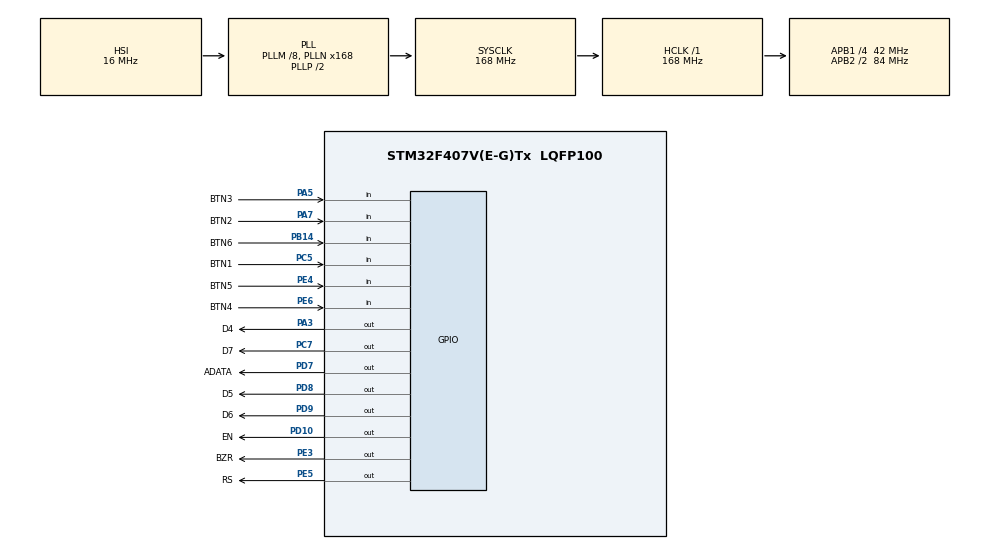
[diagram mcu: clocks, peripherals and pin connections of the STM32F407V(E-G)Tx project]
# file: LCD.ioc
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Mcu.Family=STM32F4
Mcu.Name=STM32F407V(E-G)Tx
Mcu.Package=LQFP100
NVIC.PriorityGroup=NVIC_PRIORITYGROUP_4
PA13.Mode=Serial_Wire
PA13.Signal=SYS_JTMS-SWDIO
PA14.Mode=Serial_Wire
PA14.Signal=SYS_JTCK-SWCLK
PA3.GPIO_Label=D4
PA3.Signal=GPIO_Output
PA5.GPIO_Label=BTN3
PA5.GPIO_PuPd=GPIO_PULLUP
PA5.Signal=GPIO_Input
PA7.GPIO_Label=BTN2
PA7.GPIO_PuPd=GPIO_PULLUP
PA7.Signal=GPIO_Input
PB14.GPIO_Label=BTN6
PB14.GPIO_PuPd=GPIO_PULLUP
PB14.Signal=GPIO_Input
PC5.GPIO_Label=BTN1
PC5.GPIO_PuPd=GPIO_PULLUP
PC5.Signal=GPIO_Input
PC7.GPIO_Label=D7
PC7.Signal=GPIO_Output
PD10.GPIO_Label=EN
PD10.Signal=GPIO_Output
PD7.GPIO_Label=ADATA
PD7.Signal=GPIO_Output
PD8.GPIO_Label=D5
PD8.Signal=GPIO_Output
PD9.GPIO_Label=D6
PD9.Signal=GPIO_Output
PE3.GPIO_Label=BZR
PE3.Signal=GPIO_Output
PE4.GPIO_Label=BTN5
PE4.GPIO_PuPd=GPIO_PULLUP
PE4.Signal=GPIO_Input
PE5.GPIO_Label=RS
PE5.Signal=GPIO_Output
PE6.GPIO_Label=BTN4
PE6.GPIO_PuPd=GPIO_PULLUP
PE6.Signal=GPIO_Input
PH0-OSC_IN.Mode=HSE-External-Clock-Source
PH0-OSC_IN.Signal=RCC_OSC_IN
PH1-OSC_OUT.Mode=HSE-External-Clock-Source
PH1-OSC_OUT.Signal=RCC_OSC_OUT
ProjectManager.HeapSize=0x200
ProjectManager.StackSize=0x400
ProjectManager.TargetToolchain=STM32CubeIDE
RCC.48MHZClocksFreq_Value=84000000
RCC.AHBFreq_Value=168000000
RCC.APB1CLKDivider=RCC_HCLK_DIV4
RCC.APB1Freq_Value=42000000
RCC.APB1TimFreq_Value=84000000
RCC.APB2CLKDivider=RCC_HCLK_DIV2
RCC.APB2Freq_Value=84000000
RCC.APB2TimFreq_Value=168000000
RCC.CortexFreq_Value=168000000
RCC.HCLKFreq_Value=168000000
RCC.HSE_VALUE=25000000
RCC.HSI_VALUE=16000000
RCC.LSE_VALUE=32768
RCC.PLLM=8
RCC.PLLN=168
RCC.SYSCLKFreq_VALUE=168000000
RCC.SYSCLKSource=RCC_SYSCLKSOURCE_PLLCLK
RCC.VCOOutputFreq_Value=336000000
board=custom

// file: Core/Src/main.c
/* USER CODE BEGIN Header */
/**
 ******************************************************************************
 * @file           : main.c
 * @brief          : Main program body
 ******************************************************************************
 * @attention
 *
 * Copyright (c) 2022 STMicroelectronics.
 * All rights reserved.
 *
 * This software is licensed under terms that can be found in the LICENSE file
 * in the root directory of this software component.
 * If no LICENSE file comes with this software, it is provided AS-IS.
 *
 ******************************************************************************
 */
/* USER CODE END Header */
#include "main.h"

/* USER CODE BEGIN Includes */
#include "LCD.h"
#include "stdbool.h"
/* USER CODE END Includes */

/* USER CODE BEGIN PV */
int adata = 0;
int i;
bool z = false;
/* USER CODE END PV */

void SystemClock_Config(void);
static void MX_GPIO_Init(void);

/* USER CODE BEGIN PFP */
void buttonPress(void);
/* USER CODE END PFP */

int main(void) {

	/* MCU Configuration--------------------------------------------------------*/

	/* Reset of all peripherals, Initializes the Flash interface and the Systick. */
	HAL_Init();

	/* Configure the system clock */
	SystemClock_Config();

	/* Initialize all configured peripherals */
	MX_GPIO_Init();
	/* USER CODE BEGIN 2 */

	Lcd_PortType ports[] = {
	D4_GPIO_Port, D5_GPIO_Port, D6_GPIO_Port, D7_GPIO_Port };

	Lcd_PinType pins[] = { D4_Pin, D5_Pin, D6_Pin, D7_Pin };

	Lcd_HandleTypeDef lcd = Lcd_create(ports, pins, RS_GPIO_Port, RS_Pin,
			EN_GPIO_Port, EN_Pin, LCD_4_BIT_MODE);

	Lcd_string(&lcd, "4ilo");

	Lcd_cursor(&lcd, 1, 6);
	Lcd_int(&lcd, -500);
	/* USER CODE END 2 */

	/* Infinite loop */
	while (1) {

		/* USER CODE BEGIN 3 */

		if (!HAL_GPIO_ReadPin(BTN1_GPIO_Port, BTN1_Pin)) {
			while (!HAL_GPIO_ReadPin(BTN1_GPIO_Port, BTN1_Pin))
			z = !z;
		}

		if (z) {
			HAL_GPIO_WritePin(ADATA_GPIO_Port, ADATA_Pin, 1);
		} else {
			HAL_GPIO_WritePin(ADATA_GPIO_Port, ADATA_Pin, 0);
		}
	}
	/* USER CODE END 3 */
}

void SystemClock_Config(void) {
	RCC_OscInitTypeDef RCC_OscInitStruct = { 0 };
	RCC_ClkInitTypeDef RCC_ClkInitStruct = { 0 };

	/** Configure the main internal regulator output voltage
	 */
	__HAL_RCC_PWR_CLK_ENABLE();
	__HAL_PWR_VOLTAGESCALING_CONFIG(PWR_REGULATOR_VOLTAGE_SCALE1);

	/** Initializes the RCC Oscillators according to the specified parameters
	 * in the RCC_OscInitTypeDef structure.
	 */
	RCC_OscInitStruct.OscillatorType = RCC_OSCILLATORTYPE_HSI;
	RCC_OscInitStruct.HSIState = RCC_HSI_ON;
	RCC_OscInitStruct.HSICalibrationValue = RCC_HSICALIBRATION_DEFAULT;
	RCC_OscInitStruct.PLL.PLLState = RCC_PLL_ON;
	RCC_OscInitStruct.PLL.PLLSource = RCC_PLLSOURCE_HSI;
	RCC_OscInitStruct.PLL.PLLM = 8;
	RCC_OscInitStruct.PLL.PLLN = 168;
	RCC_OscInitStruct.PLL.PLLP = RCC_PLLP_DIV2;
	RCC_OscInitStruct.PLL.PLLQ = 4;
	if (HAL_RCC_OscConfig(&RCC_OscInitStruct) != HAL_OK) {
		Error_Handler();
	}

	/** Initializes the CPU, AHB and APB buses clocks
	 */
	RCC_ClkInitStruct.ClockType = RCC_CLOCKTYPE_HCLK | RCC_CLOCKTYPE_SYSCLK
			| RCC_CLOCKTYPE_PCLK1 | RCC_CLOCKTYPE_PCLK2;
	RCC_ClkInitStruct.SYSCLKSource = RCC_SYSCLKSOURCE_PLLCLK;
	RCC_ClkInitStruct.AHBCLKDivider = RCC_SYSCLK_DIV1;
	RCC_ClkInitStruct.APB1CLKDivider = RCC_HCLK_DIV4;
	RCC_ClkInitStruct.APB2CLKDivider = RCC_HCLK_DIV2;

	if (HAL_RCC_ClockConfig(&RCC_ClkInitStruct, FLASH_LATENCY_5) != HAL_OK) {
		Error_Handler();
	}
}

static void MX_GPIO_Init(void) {
	GPIO_InitTypeDef GPIO_InitStruct = { 0 };

	/* GPIO Ports Clock Enable */
	__HAL_RCC_GPIOE_CLK_ENABLE();
	__HAL_RCC_GPIOH_CLK_ENABLE();
	__HAL_RCC_GPIOA_CLK_ENABLE();
	__HAL_RCC_GPIOC_CLK_ENABLE();
	__HAL_RCC_GPIOB_CLK_ENABLE();
	__HAL_RCC_GPIOD_CLK_ENABLE();

	/*Configure GPIO pin Output Level */
	HAL_GPIO_WritePin(GPIOE, BZR_Pin | RS_Pin, GPIO_PIN_RESET);

	/*Configure GPIO pin Output Level */
	HAL_GPIO_WritePin(D4_GPIO_Port, D4_Pin, GPIO_PIN_RESET);

	/*Configure GPIO pin Output Level */
	HAL_GPIO_WritePin(GPIOD, D5_Pin | D6_Pin | EN_Pin | ADATA_Pin,
			GPIO_PIN_RESET);

	/*Configure GPIO pin Output Level */
	HAL_GPIO_WritePin(D7_GPIO_Port, D7_Pin, GPIO_PIN_RESET);

	/*Configure GPIO pins : BZR_Pin RS_Pin */
	GPIO_InitStruct.Pin = BZR_Pin | RS_Pin;
	GPIO_InitStruct.Mode = GPIO_MODE_OUTPUT_PP;
	GPIO_InitStruct.Pull = GPIO_NOPULL;
	GPIO_InitStruct.Speed = GPIO_SPEED_FREQ_LOW;
	HAL_GPIO_Init(GPIOE, &GPIO_InitStruct);

	/*Configure GPIO pins : BTN5_Pin BTN4_Pin */
	GPIO_InitStruct.Pin = BTN5_Pin | BTN4_Pin;
	GPIO_InitStruct.Mode = GPIO_MODE_INPUT;
	GPIO_InitStruct.Pull = GPIO_PULLUP;
	HAL_GPIO_Init(GPIOE, &GPIO_InitStruct);

	/*Configure GPIO pin : D4_Pin */
	GPIO_InitStruct.Pin = D4_Pin;
	GPIO_InitStruct.Mode = GPIO_MODE_OUTPUT_PP;
	GPIO_InitStruct.Pull = GPIO_NOPULL;
	GPIO_InitStruct.Speed = GPIO_SPEED_FREQ_LOW;
	HAL_GPIO_Init(D4_GPIO_Port, &GPIO_InitStruct);

	/*Configure GPIO pins : BTN3_Pin BTN2_Pin */
	GPIO_InitStruct.Pin = BTN3_Pin | BTN2_Pin;
	GPIO_InitStruct.Mode = GPIO_MODE_INPUT;
	GPIO_InitStruct.Pull = GPIO_PULLUP;
	HAL_GPIO_Init(GPIOA, &GPIO_InitStruct);

	/*Configure GPIO pin : BTN1_Pin */
	GPIO_InitStruct.Pin = BTN1_Pin;
	GPIO_InitStruct.Mode = GPIO_MODE_INPUT;
	GPIO_InitStruct.Pull = GPIO_PULLUP;
	HAL_GPIO_Init(BTN1_GPIO_Port, &GPIO_InitStruct);

	/*Configure GPIO pin : BTN6_Pin */
	GPIO_InitStruct.Pin = BTN6_Pin;
	GPIO_InitStruct.Mode = GPIO_MODE_INPUT;
	GPIO_InitStruct.Pull = GPIO_PULLUP;
	HAL_GPIO_Init(BTN6_GPIO_Port, &GPIO_InitStruct);

	/*Configure GPIO pins : D5_Pin D6_Pin EN_Pin ADATA_Pin */
	GPIO_InitStruct.Pin = D5_Pin | D6_Pin | EN_Pin | ADATA_Pin;
	GPIO_InitStruct.Mode = GPIO_MODE_OUTPUT_PP;
	GPIO_InitStruct.Pull = GPIO_NOPULL;
	GPIO_InitStruct.Speed = GPIO_SPEED_FREQ_LOW;
	HAL_GPIO_Init(GPIOD, &GPIO_InitStruct);

	/*Configure GPIO pin : D7_Pin */
	GPIO_InitStruct.Pin = D7_Pin;
	GPIO_InitStruct.Mode = GPIO_MODE_OUTPUT_PP;
	GPIO_InitStruct.Pull = GPIO_NOPULL;
	GPIO_InitStruct.Speed = GPIO_SPEED_FREQ_LOW;
	HAL_GPIO_Init(D7_GPIO_Port, &GPIO_InitStruct);

}

/* USER CODE BEGIN 4 */
//void buttonPress(void){
//	adata = HAL_GPIO_WritePin(ADATA_GPIO_Port, ADATA_Pin, 1);
//}
/* USER CODE END 4 */

void Error_Handler(void) {
	__disable_irq();
	while (1) {
	}
}
